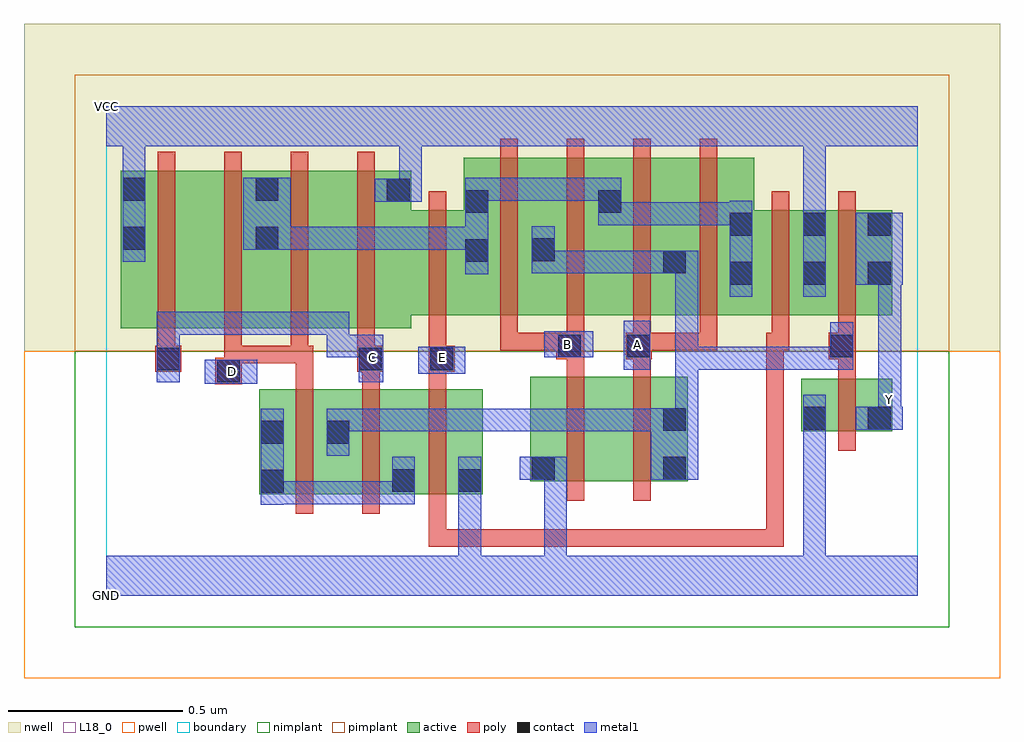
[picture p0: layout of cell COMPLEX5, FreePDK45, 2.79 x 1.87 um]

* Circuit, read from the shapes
.subckt COMPLEX5 A B C D E GND VCC Y
M1 n1 D n2 VSUBS nfet w=0.3u l=0.05u
M2 n2 C n1 VSUBS nfet w=0.3u l=0.05u
M3 GND E n2 VSUBS nfet w=0.3u l=0.05u
M4 n3 B GND VSUBS nfet w=0.3u l=0.05u
M5 n1 A n3 VSUBS nfet w=0.3u l=0.05u
M6 Y n1 GND VSUBS nfet w=0.15u l=0.05u
M7 n4 C VCC n5 pfet w=0.45u l=0.05u
M8 n6 D n4 n5 pfet w=0.45u l=0.05u
M9 n7 D n6 n5 pfet w=0.45u l=0.05u
M10 VCC C n7 n5 pfet w=0.45u l=0.05u
M11 n6 E VCC n5 pfet w=0.3u l=0.05u m=2
M12 n1 B n6 n5 pfet w=0.45u l=0.05u m=2
M13 n1 A n6 n5 pfet w=0.45u l=0.05u m=2
M14 Y n1 VCC n5 pfet w=0.3u l=0.05u
.ends

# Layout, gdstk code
import gdstk
lib = gdstk.Library(unit=1e-6, precision=1e-09)
def R(c, l, rs):  # rectangles x0, y0, x1, y1
    for r in rs: c.add(gdstk.rectangle(r[:2], r[2:], *l))
def A(c, l, x, y, w, h, nx, ny, dx, dy):  # array of equal rectangles
    R(c, l, [(x+i*dx, y+j*dy, x+i*dx+w, y+j*dy+h) for i in range(nx) for j in range(ny)])
active = (1, 0)
pwell = (2, 0)
nwell = (3, 0)
nimplant = (4, 0)
pimplant = (5, 0)
poly = (9, 0)
contact = (10, 0)
metal1 = (11, 0)
L18_0 = (18, 0)
boundary = (235, 0)

complex5 = lib.new_cell('COMPLEX5')
R(complex5, active, [(0.437,0.29,0.512,0.59), (0.437,0.29,0.7,0.59), (0.625,0.29,0.887,0.59), (0.812,0.29,1.077,0.59), (0.812,0.29,0.887,0.547), (1.002,0.29,1.077,0.59), (1.212,0.327,1.287,0.627), (1.212,0.327,1.437,0.627), (1.437,0.327,1.662,0.627), (1.587,0.327,1.662,0.627), (0.625,0.33,0.7,0.505), (1.987,0.47,2.062,0.62), (1.987,0.47,2.247,0.62), (2.172,0.47,2.247,0.62), (0.042,0.765,0.267,1.215), (0.042,0.765,0.117,1.205), (0.267,0.765,0.497,1.215), (0.422,0.765,0.647,1.215), (0.647,0.765,0.872,1.215), (0.797,0.802,1.097,1.102), (1.022,0.802,1.287,1.252), (1.212,0.802,1.477,1.252), (1.402,0.802,1.662,1.252), (1.587,0.802,1.852,1.252), (1.777,0.802,2.062,1.102), (1.777,0.802,1.852,1.2), (1.987,0.802,2.062,1.102), (1.987,0.802,2.247,1.102), (2.172,0.802,2.247,1.1), (1.402,0.827,1.477,1.2), (0.422,0.857,0.497,1.2), (1.212,0.857,1.287,1.07), (1.587,0.857,1.662,1.07), (1.022,0.95,1.097,1.2), (0.797,1.007,0.872,1.197)])
R(complex5, pwell, [(-0.235,-0.235,2.555,0.7)])
R(complex5, nwell, [(-0.235,0.7,2.555,1.635)])
R(complex5, nimplant, [(-0.09,-0.09,2.41,0.7)])
R(complex5, pimplant, [(-0.09,0.7,2.41,1.49)])
A(complex5, poly, 0.542, 0.235, 0.05, 0.41, 3, 1, 0.19, 0)
A(complex5, poly, 0.147, 0.665, 0.05, 0.095, 4, 1, 0.19, 0)
A(complex5, poly, 1.127, 0.702, 0.05, 0.095, 4, 1, 0.19, 0)
A(complex5, poly, 0.147, 0.71, 0.05, 0.56, 4, 1, 0.19, 0)
A(complex5, poly, 1.127, 0.747, 0.05, 0.56, 4, 1, 0.19, 0)
R(complex5, poly, [(0.922,0.14,0.972,0.19), (0.922,0.14,0.972,0.19), (0.922,0.14,0.972,0.19), (0.922,0.14,1.13,0.19), (0.922,0.14,0.972,0.285), (1.08,0.14,1.13,0.19), (1.08,0.14,1.13,0.19), (1.08,0.14,1.13,0.19), (1.08,0.14,1.402,0.19), (1.352,0.14,1.402,0.19), (1.352,0.14,1.402,0.19), (1.352,0.14,1.402,0.19), (1.352,0.14,1.535,0.19), (1.485,0.14,1.535,0.19), (1.485,0.14,1.535,0.19), (1.485,0.14,1.535,0.19), (1.485,0.14,1.692,0.19), (1.642,0.14,1.692,0.19), (1.642,0.14,1.937,0.19), (1.887,0.14,1.937,0.19), (1.887,0.14,1.937,0.19), (1.887,0.14,1.937,0.19), (1.887,0.14,1.937,0.19), (1.887,0.14,1.937,0.19), (1.887,0.14,1.937,0.19), (1.887,0.14,1.937,0.19), (1.887,0.14,1.937,0.752), (1.317,0.272,1.367,0.682), (1.507,0.272,1.557,0.682), (2.092,0.415,2.142,0.675), (0.542,0.595,0.592,0.715), (0.732,0.595,0.782,0.69), (0.922,0.595,0.972,0.69), (0.312,0.605,0.387,0.68), (2.092,0.625,2.142,0.727), (0.337,0.63,0.387,0.715), (1.317,0.632,1.367,0.727), (1.507,0.632,1.557,0.727), (0.14,0.64,0.215,0.715), (0.717,0.64,0.792,0.715), (0.922,0.64,0.997,0.715), (0.337,0.665,0.387,0.715), (0.337,0.665,0.387,0.715), (0.337,0.665,0.387,0.715), (0.337,0.665,0.577,0.715), (0.527,0.665,0.577,0.715), (0.527,0.665,0.577,0.715), (0.527,0.665,0.592,0.715), (0.922,0.665,0.972,0.797), (1.287,0.677,1.367,0.752), (1.485,0.677,1.56,0.752), (2.065,0.677,2.142,0.752), (1.127,0.702,1.177,0.752), (1.127,0.702,1.177,0.752), (1.127,0.702,1.177,0.752), (1.127,0.702,1.337,0.752), (1.51,0.702,1.747,0.752), (1.697,0.702,1.747,0.752), (1.697,0.702,1.747,0.752), (1.697,0.702,1.747,0.752), (1.887,0.702,1.937,0.752), (1.887,0.702,1.937,0.752), (1.887,0.702,1.952,0.752), (1.902,0.702,1.952,0.797), (2.092,0.702,2.142,0.797), (0.922,0.747,0.972,1.157), (1.902,0.747,1.952,1.157), (2.092,0.747,2.142,1.157)])
R(complex5, contact, [(0.442,0.295,0.507,0.36), (0.817,0.297,0.882,0.362), (1.007,0.297,1.072,0.362), (1.217,0.332,1.282,0.397), (1.592,0.332,1.657,0.397), (0.442,0.435,0.507,0.5), (0.63,0.435,0.695,0.5), (1.592,0.472,1.657,0.537), (1.992,0.475,2.057,0.54), (2.177,0.475,2.242,0.54), (0.317,0.61,0.382,0.675), (0.145,0.645,0.21,0.71), (0.722,0.645,0.787,0.71), (0.927,0.645,0.992,0.71), (1.292,0.682,1.357,0.747), (1.49,0.682,1.555,0.747), (2.07,0.682,2.135,0.747), (1.782,0.89,1.847,0.955), (1.992,0.89,2.057,0.955), (2.177,0.89,2.242,0.955), (1.592,0.922,1.657,0.987), (1.027,0.955,1.092,1.02), (1.217,0.957,1.282,1.022), (0.047,0.99,0.112,1.055), (0.427,0.99,0.492,1.055), (1.782,1.03,1.847,1.095), (1.992,1.03,2.057,1.095), (2.177,1.03,2.242,1.095), (1.027,1.095,1.092,1.16), (1.407,1.095,1.472,1.16), (0.802,1.127,0.867,1.192), (0.047,1.13,0.112,1.195), (0.427,1.13,0.492,1.195)])
R(complex5, metal1, [(0,0,2.32,0.115), (1.007,0.05,1.072,0.327), (1.252,0.05,1.317,0.397), (1.992,0.05,2.057,0.115), (1.992,0.05,2.057,0.115), (1.992,0.05,2.057,0.505), (0.442,0.26,0.507,0.535), (0.442,0.262,0.507,0.327), (0.442,0.262,0.507,0.327), (0.442,0.262,0.665,0.327), (0.6,0.262,0.665,0.327), (0.6,0.262,0.665,0.327), (0.6,0.262,0.665,0.327), (0.6,0.262,0.882,0.327), (0.817,0.262,0.882,0.397), (1.007,0.262,1.072,0.397), (1.007,0.262,1.072,0.327), (1.007,0.262,1.072,0.327), (1.007,0.262,1.072,0.327), (1.007,0.262,1.072,0.327), (1.182,0.332,1.317,0.397), (1.252,0.332,1.317,0.397), (1.252,0.332,1.317,0.397), (1.252,0.332,1.317,0.397), (1.252,0.332,1.317,0.397), (1.557,0.332,1.692,0.537), (0.63,0.4,0.695,0.535), (1.992,0.44,2.057,0.575), (1.992,0.44,2.057,0.505), (1.992,0.44,2.057,0.505), (1.992,0.44,2.057,0.505), (1.992,0.44,2.057,0.505), (0.63,0.47,0.695,0.535), (0.63,0.47,0.695,0.535), (0.63,0.47,0.832,0.535), (0.767,0.47,0.97,0.535), (0.767,0.47,0.832,0.535), (0.905,0.47,0.97,0.535), (0.905,0.47,0.97,0.535), (0.905,0.47,0.97,0.535), (0.905,0.47,1.145,0.535), (1.08,0.47,1.145,0.535), (1.08,0.47,1.282,0.535), (1.217,0.47,1.282,0.535), (1.217,0.47,1.282,0.535), (1.217,0.47,1.282,0.535), (1.217,0.47,1.485,0.535), (1.42,0.47,1.485,0.535), (1.42,0.47,1.622,0.535), (1.557,0.47,1.622,0.535), (1.557,0.47,1.622,0.535), (1.627,0.472,1.692,0.712), (2.142,0.475,2.277,0.54), (2.207,0.475,2.272,0.557), (2.207,0.492,2.272,0.627), (2.207,0.562,2.272,0.955), (0.282,0.607,0.432,0.675), (0.145,0.61,0.21,0.745), (0.722,0.61,0.792,0.747), (0.892,0.635,1.027,0.712), (1.48,0.647,1.555,0.787), (1.627,0.647,1.83,0.712), (1.627,0.647,1.692,0.712), (1.627,0.647,1.692,0.987), (1.765,0.647,1.83,0.712), (1.765,0.647,1.83,0.712), (1.765,0.647,1.83,0.712), (1.765,0.647,1.997,0.712), (1.932,0.647,2.135,0.712), (1.932,0.647,1.997,0.712), (1.932,0.647,1.997,0.712), (1.932,0.647,1.997,0.712), (2.07,0.647,2.135,0.782), (0.145,0.68,0.21,0.745), (0.145,0.68,0.21,0.812), (0.63,0.682,0.787,0.747), (0.63,0.682,0.695,0.812), (1.252,0.682,1.392,0.757), (0.145,0.747,0.347,0.812), (0.282,0.747,0.485,0.812), (0.282,0.747,0.347,0.812), (0.282,0.747,0.347,0.812), (0.282,0.747,0.347,0.812), (0.42,0.747,0.485,0.812), (0.42,0.747,0.695,0.812), (1.782,0.855,1.847,1.13), (1.992,0.855,2.057,1.13), (2.142,0.89,2.277,1.095), (1.027,0.92,1.092,1.195), (1.217,0.922,1.282,1.057), (1.217,0.922,1.282,0.987), (1.217,0.922,1.282,0.987), (1.217,0.922,1.485,0.987), (1.42,0.922,1.485,0.987), (1.42,0.922,1.485,0.987), (1.42,0.922,1.485,0.987), (1.42,0.922,1.622,0.987), (1.557,0.922,1.692,0.987), (0.047,0.955,0.112,1.23), (0.392,0.99,0.527,1.195), (0.462,0.99,0.527,1.055), (0.462,0.99,0.527,1.055), (0.462,0.99,0.695,1.055), (0.63,0.99,0.695,1.055), (0.63,0.99,0.695,1.055), (0.63,0.99,0.695,1.055), (0.63,0.99,0.832,1.055), (0.767,0.99,0.832,1.055), (0.767,0.99,1.007,1.055), (0.942,0.99,1.007,1.055), (0.942,0.99,1.092,1.055), (1.407,1.06,1.472,1.195), (1.407,1.06,1.472,1.125), (1.407,1.06,1.472,1.125), (1.407,1.06,1.622,1.125), (1.557,1.06,1.622,1.125), (1.557,1.06,1.847,1.125), (1.782,1.06,1.847,1.125), (1.782,1.06,1.847,1.125), (1.992,1.065,2.057,1.35), (0.767,1.127,0.902,1.192), (0.837,1.127,0.902,1.35), (1.027,1.13,1.092,1.195), (1.027,1.13,1.092,1.195), (1.027,1.13,1.145,1.195), (1.08,1.13,1.145,1.195), (1.08,1.13,1.282,1.195), (1.217,1.13,1.282,1.195), (1.217,1.13,1.282,1.195), (1.217,1.13,1.282,1.195), (1.217,1.13,1.472,1.195), (0.047,1.165,0.112,1.35), (0,1.285,2.32,1.4), (1.992,1.285,2.057,1.35), (1.992,1.285,2.057,1.35)])
R(complex5, L18_0, [(0,0,2.32,0.115), (1.007,0.05,1.072,0.327), (1.252,0.05,1.317,0.397), (1.992,0.05,2.057,0.115), (1.992,0.05,2.057,0.115), (1.992,0.05,2.057,0.505), (1.007,0.262,1.072,0.397), (1.007,0.262,1.072,0.327), (1.007,0.262,1.072,0.327), (1.007,0.262,1.072,0.327), (1.007,0.262,1.072,0.327), (1.182,0.332,1.317,0.397), (1.252,0.332,1.317,0.397), (1.252,0.332,1.317,0.397), (1.252,0.332,1.317,0.397), (1.252,0.332,1.317,0.397), (1.992,0.44,2.057,0.575), (1.992,0.44,2.057,0.505), (1.992,0.44,2.057,0.505), (1.992,0.44,2.057,0.505), (1.992,0.44,2.057,0.505), (2.142,0.475,2.277,0.54), (2.207,0.475,2.272,0.557), (2.207,0.492,2.272,0.627), (2.207,0.527,2.272,0.592), (2.207,0.562,2.272,0.955), (0.282,0.607,0.432,0.675), (0.327,0.607,0.392,0.672), (0.145,0.61,0.21,0.745), (0.722,0.61,0.792,0.747), (0.892,0.635,1.027,0.712), (0.727,0.647,0.792,0.712), (0.927,0.647,0.992,0.712), (1.48,0.647,1.555,0.787), (0.145,0.68,0.21,0.812), (0.145,0.68,0.21,0.745), (0.63,0.682,0.695,0.812), (0.63,0.682,0.787,0.747), (1.252,0.682,1.392,0.757), (1.287,0.687,1.352,0.752), (1.487,0.687,1.552,0.752), (0.145,0.747,0.347,0.812), (0.282,0.747,0.347,0.812), (0.282,0.747,0.347,0.812), (0.282,0.747,0.347,0.812), (0.282,0.747,0.485,0.812), (0.42,0.747,0.485,0.812), (0.42,0.747,0.695,0.812), (1.992,0.855,2.057,1.13), (2.142,0.89,2.277,1.095), (0.047,0.955,0.112,1.23), (1.992,1.065,2.057,1.35), (0.767,1.127,0.902,1.192), (0.837,1.127,0.902,1.35), (0.047,1.165,0.112,1.35), (0,1.285,2.32,1.4), (1.992,1.285,2.057,1.35), (1.992,1.285,2.057,1.35)])
R(complex5, boundary, [(0,0,2.32,1.4)])
complex5.add(gdstk.Label('A', (1.52,0.72), layer=11, texttype=0))
complex5.add(gdstk.Label('B', (1.32,0.72), layer=11, texttype=0))
complex5.add(gdstk.Label('C', (0.76,0.68), layer=11, texttype=0))
complex5.add(gdstk.Label('D', (0.36,0.64), layer=11, texttype=0))
complex5.add(gdstk.Label('E', (0.96,0.68), layer=11, texttype=0))
complex5.add(gdstk.Label('Y', (2.24,0.56), layer=11, texttype=0))
complex5.add(gdstk.Label('VCC', (0,1.4), layer=11, texttype=0))
complex5.add(gdstk.Label('GND', (0,0), layer=11, texttype=0))

lib.write_gds('COMPLEX5.gds')
